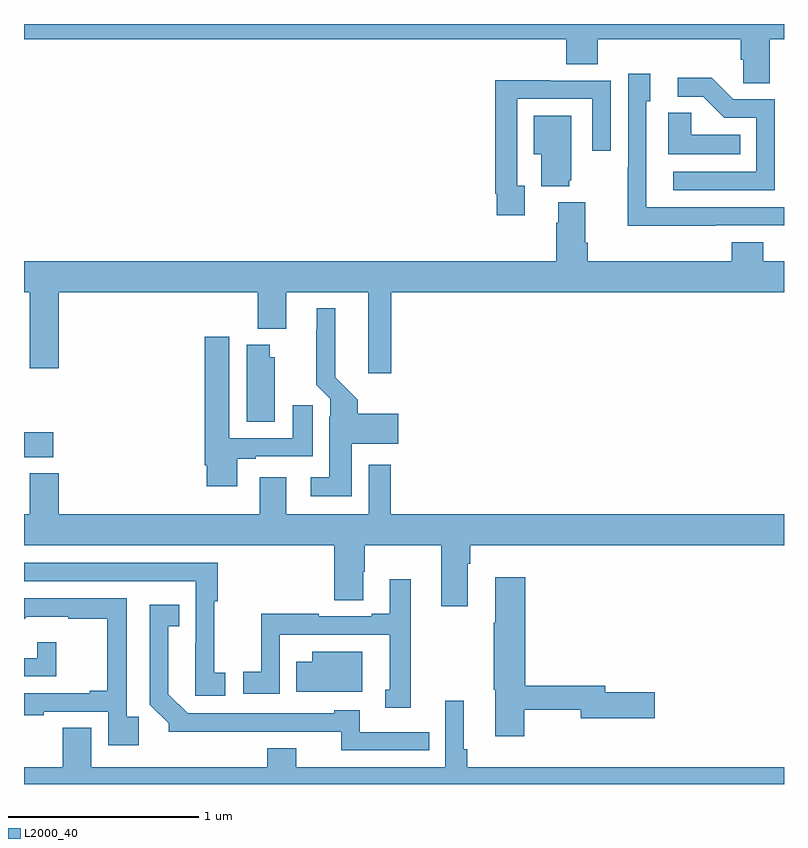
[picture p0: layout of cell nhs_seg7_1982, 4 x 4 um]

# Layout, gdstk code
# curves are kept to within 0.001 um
import gdstk
lib = gdstk.Library(unit=1e-6, precision=1e-09)
def R(c, l, rs):  # rectangles x0, y0, x1, y1
    for r in rs: c.add(gdstk.rectangle(r[:2], r[2:], *l))
def P(c, l, *ps):  # polygons
    for p in ps: c.add(gdstk.Polygon(p, *l))
L2000_40 = (2000, 40)

nhs_seg7_1982 = lib.new_cell('nhs_seg7_1982')
R(nhs_seg7_1982, L2000_40, [(243,1027.721,243.154,1027.851)])
P(nhs_seg7_1982, L2000_40, [(246.925,1029.92),(247,1029.92),(247,1030),(243,1030),(243,1029.92),(245.855,1029.92),(245.855,1029.787),(246.02,1029.787),(246.02,1029.92),(246.773,1029.92),(246.773,1029.811),(246.786,1029.811),(246.786,1029.688),(246.925,1029.688)],
  [(246.641,1028.94),(247,1028.94),(247,1029.036),(246.276,1029.036),(246.276,1029.594),(246.295,1029.594),(246.295,1029.739),(246.18,1029.739),(246.18,1029.245),(246.178,1029.245),(246.178,1028.939),(246.641,1028.939)],
  [(246.951,1029.603),(246.732,1029.603),(246.619,1029.716),(246.441,1029.716),(246.441,1029.618),(246.575,1029.618),(246.686,1029.507),(246.855,1029.507),(246.855,1029.222),(246.417,1029.222),(246.417,1029.126),(246.951,1029.126)],
  [(245.635,1029.15),(245.595,1029.15),(245.595,1029.606),(245.991,1029.606),(245.991,1029.333),(246.087,1029.333),(246.087,1029.702),(245.771,1029.702),(245.771,1029.704),(245.479,1029.704),(245.479,1029.106),(245.487,1029.106),(245.487,1028.994),(245.635,1028.994)],
  [(246.77,1029.418),(246.513,1029.418),(246.513,1029.533),(246.392,1029.533),(246.392,1029.314),(246.77,1029.314)],
  [(245.87,1029.177),(245.881,1029.177),(245.881,1029.517),(245.684,1029.517),(245.684,1029.314),(245.723,1029.314),(245.723,1029.146),(245.87,1029.146)],
  [(246.725,1028.851),(246.725,1028.752),(245.966,1028.752),(245.966,1028.848),(245.953,1028.848),(245.953,1029.061),(245.813,1029.061),(245.813,1028.954),(245.801,1028.954),(245.801,1028.752),(243,1028.752),(243,1028.588),(243.029,1028.588),(243.029,1028.187),(243.182,1028.187),(243.182,1028.588),(244.229,1028.588),(244.229,1028.396),(244.381,1028.396),(244.381,1028.588),(244.811,1028.588),(244.811,1028.163),(244.934,1028.163),(244.934,1028.588),(247,1028.588),(247,1028.752),(246.89,1028.752),(246.89,1028.851)],
  [(244.726,1027.79),(244.969,1027.79),(244.969,1027.948),(244.757,1027.948),(244.757,1028.022),(244.639,1028.14),(244.639,1028.503),(244.541,1028.503),(244.541,1028.393),(244.537,1028.393),(244.537,1028.102),(244.611,1028.028),(244.611,1027.934),(244.607,1027.934),(244.607,1027.615),(244.509,1027.615),(244.509,1027.514),(244.726,1027.514)],
  [(244.123,1027.713),(244.219,1027.713),(244.219,1027.725),(244.519,1027.725),(244.519,1027.993),(244.415,1027.993),(244.415,1027.821),(244.081,1027.821),(244.081,1028.353),(243.95,1028.353),(243.95,1027.678),(243.962,1027.678),(243.962,1027.566),(244.123,1027.566)],
  [(244.321,1028.247),(244.294,1028.247),(244.294,1028.311),(244.172,1028.311),(244.172,1027.906),(244.321,1027.906)],
  [(245.335,1027.16),(245.348,1027.16),(245.348,1027.256),(247,1027.256),(247,1027.42),(244.931,1027.42),(244.931,1027.68),(244.815,1027.68),(244.815,1027.42),(244.381,1027.42),(244.381,1027.615),(244.241,1027.615),(244.241,1027.42),(243.182,1027.42),(243.182,1027.636),(243.029,1027.636),(243.029,1027.42),(243,1027.42),(243,1027.256),(244.634,1027.256),(244.634,1026.967),(244.786,1026.967),(244.786,1027.118),(244.794,1027.118),(244.794,1027.256),(245.195,1027.256),(245.195,1026.936),(245.335,1026.936)],
  [(244.06,1026.585),(244.002,1026.585),(244.002,1026.961),(244.019,1026.961),(244.019,1027.164),(243,1027.164),(243,1027.068),(243.903,1027.068),(243.903,1026.74),(243.902,1026.74),(243.902,1026.465),(244.06,1026.465)],
  [(245.634,1026.39),(245.93,1026.39),(245.93,1026.347),(246.319,1026.347),(246.319,1026.482),(246.058,1026.482),(246.058,1026.518),(245.639,1026.518),(245.639,1027.087),(245.48,1027.087),(245.48,1026.848),(245.473,1026.848),(245.473,1026.495),(245.48,1026.495),(245.48,1026.252),(245.634,1026.252)],
  [(245.035,1027.078),(244.925,1027.078),(244.925,1026.895),(244.829,1026.895),(244.829,1026.882),(244.55,1026.882),(244.55,1026.895),(244.249,1026.895),(244.249,1026.59),(244.155,1026.59),(244.155,1026.474),(244.347,1026.474),(244.347,1026.785),(244.348,1026.785),(244.348,1026.786),(244.925,1026.786),(244.925,1026.495),(244.901,1026.495),(244.901,1026.401),(245.035,1026.401)],
  [(243.605,1026.355),(243.54,1026.355),(243.54,1026.978),(243,1026.978),(243,1026.867),(243.014,1026.881),(243.233,1026.881),(243.233,1026.87),(243.439,1026.87),(243.439,1026.49),(243.347,1026.49),(243.347,1026.477),(243,1026.477),(243,1026.362),(243.103,1026.362),(243.103,1026.381),(243.444,1026.381),(243.444,1026.204),(243.605,1026.204)],
  [(245.132,1026.273),(244.768,1026.273),(244.768,1026.388),(244.632,1026.388),(244.632,1026.372),(243.861,1026.372),(243.76,1026.473),(243.76,1026.83),(243.818,1026.83),(243.818,1026.943),(243.663,1026.943),(243.663,1026.418),(243.762,1026.319),(243.762,1026.275),(244.669,1026.276),(244.669,1026.177),(245.132,1026.177)],
  [(243.17,1026.745),(243.069,1026.745),(243.069,1026.663),(243,1026.663),(243,1026.567),(243.17,1026.567)],
  [(244.78,1026.697),(244.517,1026.697),(244.517,1026.643),(244.432,1026.643),(244.432,1026.485),(244.78,1026.485)],
  [(247,1026.088),(245.333,1026.088),(245.333,1026.184),(245.314,1026.184),(245.314,1026.439),(245.217,1026.439),(245.217,1026.088),(244.432,1026.088),(244.432,1026.187),(244.28,1026.187),(244.28,1026.088),(243.355,1026.088),(243.355,1026.296),(243.203,1026.296),(243.203,1026.088),(243,1026.088),(243,1026),(247,1026)])

lib.write_gds('nhs_seg7_1982.gds')
